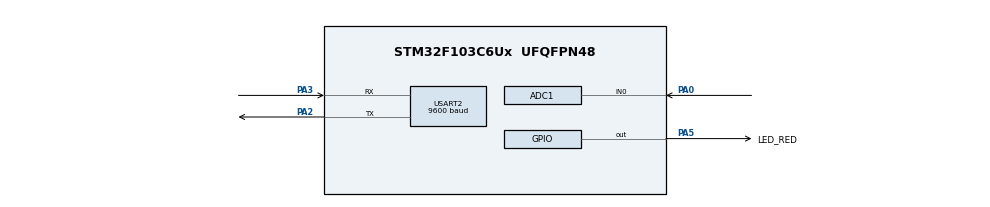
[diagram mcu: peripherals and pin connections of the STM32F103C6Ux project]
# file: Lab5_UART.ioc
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ADC1.Channel-0\#ChannelRegularConversion=ADC_CHANNEL_0
ADC1.ContinuousConvMode=ENABLE
ADC1.NbrOfConversionFlag=1
ADC1.Rank-0\#ChannelRegularConversion=1
ADC1.SamplingTime-0\#ChannelRegularConversion=ADC_SAMPLETIME_1CYCLE_5
ADC1.master=1
Mcu.Family=STM32F1
Mcu.Name=STM32F103C6Ux
Mcu.Package=UFQFPN48
NVIC.PriorityGroup=NVIC_PRIORITYGROUP_4
NVIC.TIM2_IRQn=true\:0\:0\:false\:false\:true\:true\:true\:true
NVIC.USART2_IRQn=true\:0\:0\:false\:false\:true\:true\:true\:true
PA0-WKUP.Signal=ADCx_IN0
PA2.Mode=Asynchronous
PA2.Signal=USART2_TX
PA3.Mode=Asynchronous
PA3.Signal=USART2_RX
PA5.GPIO_Label=LED_RED
PA5.Signal=GPIO_Output
ProjectManager.HeapSize=0x200
ProjectManager.StackSize=0x400
ProjectManager.TargetToolchain=STM32CubeIDE
RCC.APB1Freq_Value=8000000
RCC.APB2Freq_Value=8000000
SH.ADCx_IN0.0=ADC1_IN0,IN0
TIM2.Period=9
TIM2.Prescaler=7999
USART2.BaudRate=9600
USART2.VirtualMode=VM_ASYNC
VP_SYS_VS_ND.Mode=No_Debug
VP_TIM2_VS_ClockSourceINT.Mode=Internal
board=custom

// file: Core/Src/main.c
/* USER CODE BEGIN Header */
/**
  ******************************************************************************
  * @file           : main.c
  * @brief          : Main program body
  ******************************************************************************
  * @attention
  *
  * Copyright (c) 2025 STMicroelectronics.
  * All rights reserved.
  *
  * This software is licensed under terms that can be found in the LICENSE file
  * in the root directory of this software component.
  * If no LICENSE file comes with this software, it is provided AS-IS.
  *
  ******************************************************************************
  */
/* USER CODE END Header */
#include "main.h"

/* USER CODE BEGIN Includes */
#include "global.h"
#include "uart.h"
#include "command_parser.h"
/* USER CODE END Includes */

ADC_HandleTypeDef hadc1;

TIM_HandleTypeDef htim2;

UART_HandleTypeDef huart2;

void SystemClock_Config(void);
static void MX_GPIO_Init(void);
static void MX_ADC1_Init(void);
static void MX_TIM2_Init(void);
static void MX_USART2_UART_Init(void);
/* USER CODE BEGIN PFP */
void init_system(void);
/* USER CODE END PFP */

int main(void)
{

  /* MCU Configuration--------------------------------------------------------*/

  /* Reset of all peripherals, Initializes the Flash interface and the Systick. */
  HAL_Init();

  /* Configure the system clock */
  SystemClock_Config();

  /* Initialize all configured peripherals */
  MX_GPIO_Init();
  MX_ADC1_Init();
  MX_TIM2_Init();
  MX_USART2_UART_Init();
  /* USER CODE BEGIN 2 */
  init_system();
  /* USER CODE END 2 */

  /* Infinite loop */
  /* USER CODE BEGIN WHILE */
  while (1)
  {
	  if (buffer_flag == 1) {
		  FSM_Command_Parser();
		  buffer_flag = 0;
	  }
	  FSM_UART_Communication();

	  if (isTimerExpired(1) == 1) {
		  HAL_GPIO_TogglePin(LED_RED_GPIO_Port, LED_RED_Pin);
		  setTimer(1, 1000);
	  }
    /* USER CODE END WHILE */

  }
}

void SystemClock_Config(void)
{
  RCC_OscInitTypeDef RCC_OscInitStruct = {0};
  RCC_ClkInitTypeDef RCC_ClkInitStruct = {0};
  RCC_PeriphCLKInitTypeDef PeriphClkInit = {0};

  /** Initializes the RCC Oscillators according to the specified parameters
  * in the RCC_OscInitTypeDef structure.
  */
  RCC_OscInitStruct.OscillatorType = RCC_OSCILLATORTYPE_HSI;
  RCC_OscInitStruct.HSIState = RCC_HSI_ON;
  RCC_OscInitStruct.HSICalibrationValue = RCC_HSICALIBRATION_DEFAULT;
  RCC_OscInitStruct.PLL.PLLState = RCC_PLL_NONE;
  if (HAL_RCC_OscConfig(&RCC_OscInitStruct) != HAL_OK)
  {
    Error_Handler();
  }

  /** Initializes the CPU, AHB and APB buses clocks
  */
  RCC_ClkInitStruct.ClockType = RCC_CLOCKTYPE_HCLK|RCC_CLOCKTYPE_SYSCLK
                              |RCC_CLOCKTYPE_PCLK1|RCC_CLOCKTYPE_PCLK2;
  RCC_ClkInitStruct.SYSCLKSource = RCC_SYSCLKSOURCE_HSI;
  RCC_ClkInitStruct.AHBCLKDivider = RCC_SYSCLK_DIV1;
  RCC_ClkInitStruct.APB1CLKDivider = RCC_HCLK_DIV1;
  RCC_ClkInitStruct.APB2CLKDivider = RCC_HCLK_DIV1;

  if (HAL_RCC_ClockConfig(&RCC_ClkInitStruct, FLASH_LATENCY_0) != HAL_OK)
  {
    Error_Handler();
  }
  PeriphClkInit.PeriphClockSelection = RCC_PERIPHCLK_ADC;
  PeriphClkInit.AdcClockSelection = RCC_ADCPCLK2_DIV2;
  if (HAL_RCCEx_PeriphCLKConfig(&PeriphClkInit) != HAL_OK)
  {
    Error_Handler();
  }
}

static void MX_ADC1_Init(void)
{

  ADC_ChannelConfTypeDef sConfig = {0};

  /** Common config
  */
  hadc1.Instance = ADC1;
  hadc1.Init.ScanConvMode = ADC_SCAN_DISABLE;
  hadc1.Init.ContinuousConvMode = ENABLE;
  hadc1.Init.DiscontinuousConvMode = DISABLE;
  hadc1.Init.ExternalTrigConv = ADC_SOFTWARE_START;
  hadc1.Init.DataAlign = ADC_DATAALIGN_RIGHT;
  hadc1.Init.NbrOfConversion = 1;
  if (HAL_ADC_Init(&hadc1) != HAL_OK)
  {
    Error_Handler();
  }

  /** Configure Regular Channel
  */
  sConfig.Channel = ADC_CHANNEL_0;
  sConfig.Rank = ADC_REGULAR_RANK_1;
  sConfig.SamplingTime = ADC_SAMPLETIME_1CYCLE_5;
  if (HAL_ADC_ConfigChannel(&hadc1, &sConfig) != HAL_OK)
  {
    Error_Handler();
  }

}

static void MX_TIM2_Init(void)
{

  TIM_ClockConfigTypeDef sClockSourceConfig = {0};
  TIM_MasterConfigTypeDef sMasterConfig = {0};

  htim2.Instance = TIM2;
  htim2.Init.Prescaler = 7999;
  htim2.Init.CounterMode = TIM_COUNTERMODE_UP;
  htim2.Init.Period = 9;
  htim2.Init.ClockDivision = TIM_CLOCKDIVISION_DIV1;
  htim2.Init.AutoReloadPreload = TIM_AUTORELOAD_PRELOAD_DISABLE;
  if (HAL_TIM_Base_Init(&htim2) != HAL_OK)
  {
    Error_Handler();
  }
  sClockSourceConfig.ClockSource = TIM_CLOCKSOURCE_INTERNAL;
  if (HAL_TIM_ConfigClockSource(&htim2, &sClockSourceConfig) != HAL_OK)
  {
    Error_Handler();
  }
  sMasterConfig.MasterOutputTrigger = TIM_TRGO_RESET;
  sMasterConfig.MasterSlaveMode = TIM_MASTERSLAVEMODE_DISABLE;
  if (HAL_TIMEx_MasterConfigSynchronization(&htim2, &sMasterConfig) != HAL_OK)
  {
    Error_Handler();
  }

}

static void MX_USART2_UART_Init(void)
{

  huart2.Instance = USART2;
  huart2.Init.BaudRate = 9600;
  huart2.Init.WordLength = UART_WORDLENGTH_8B;
  huart2.Init.StopBits = UART_STOPBITS_1;
  huart2.Init.Parity = UART_PARITY_NONE;
  huart2.Init.Mode = UART_MODE_TX_RX;
  huart2.Init.HwFlowCtl = UART_HWCONTROL_NONE;
  huart2.Init.OverSampling = UART_OVERSAMPLING_16;
  if (HAL_UART_Init(&huart2) != HAL_OK)
  {
    Error_Handler();
  }

}

static void MX_GPIO_Init(void)
{
  GPIO_InitTypeDef GPIO_InitStruct = {0};

  /* GPIO Ports Clock Enable */
  __HAL_RCC_GPIOA_CLK_ENABLE();

  /*Configure GPIO pin Output Level */
  HAL_GPIO_WritePin(LED_RED_GPIO_Port, LED_RED_Pin, GPIO_PIN_RESET);

  /*Configure GPIO pin : LED_RED_Pin */
  GPIO_InitStruct.Pin = LED_RED_Pin;
  GPIO_InitStruct.Mode = GPIO_MODE_OUTPUT_PP;
  GPIO_InitStruct.Pull = GPIO_NOPULL;
  GPIO_InitStruct.Speed = GPIO_SPEED_FREQ_LOW;
  HAL_GPIO_Init(LED_RED_GPIO_Port, &GPIO_InitStruct);

}

/* USER CODE BEGIN 4 */
void init_system(void) {
	setTimer(1, 1000);
	HAL_TIM_Base_Start_IT(&htim2);
	HAL_ADC_Start(&hadc1);
	HAL_UART_Receive_IT(&huart2, &temp, 1);
	HAL_GPIO_WritePin(LED_RED_GPIO_Port, LED_RED_Pin, SET);
}

void HAL_TIM_PeriodElapsedCallback(TIM_HandleTypeDef *htim) {
	timerRun();
}

void HAL_UART_RxCpltCallback(UART_HandleTypeDef *huart) {
	get_message(huart);
}
/* USER CODE END 4 */

void Error_Handler(void)
{
  __disable_irq();
  while (1)
  {
  }
}
